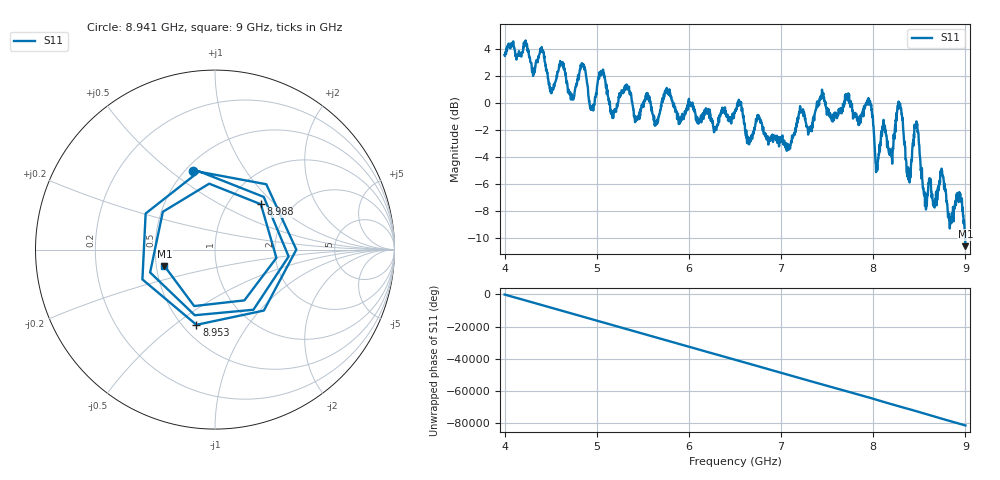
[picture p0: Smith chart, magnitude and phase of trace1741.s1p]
! Created with skrf 1.8.0 (http://scikit-rf.org).
# Hz S RI R 50.0
!freq ReS11 ImS11
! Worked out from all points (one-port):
!   1601 points, 4 GHz to 9 GHz, reference 50 ohm
!   lowest |S11| = -10.6 dB at 9 GHz (marker M1), VSWR 1.84, Z = 27.6 - j5.55 ohm
!   |S11| at or under -10 dB: 8.99841 GHz to end of sweep
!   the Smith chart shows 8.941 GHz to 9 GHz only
!   S11 on the Smith chart (normalised r, x): 8.941 GHz: 0.54, +0.61; 8.953 GHz: 0.58, -0.60; 8.988 GHz: 1.41, +0.82; 9 GHz: 0.55, -0.11
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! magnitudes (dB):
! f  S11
! 4 GHz  3.6
! 4.406 GHz  3.9
! 4.512 GHz  0.8
! 4.625 GHz  2.8
! 4.731 GHz  0.3
! 4.85 GHz  2.9
! 4.947 GHz  -0.5
! 5.053 GHz  2.1
! 5.172 GHz  -0.9
! 5.25 GHz  0.4
! 5.875 GHz  -0.9
! 6.5 GHz  -0.6
! 6.65 GHz  -2.7
! 7.125 GHz  -2.5
! 7.441 GHz  0.5
! 7.75 GHz  -0.3
! 7.959 GHz  0.0
! 8.041 GHz  -4.5
! 8.109 GHz  -1.5
! 8.194 GHz  -3.9
! 8.288 GHz  -0.1
! 8.375 GHz  -5.2
! 8.466 GHz  -1.5
! 8.562 GHz  -7.6
! 8.941 GHz  -6.8
! 8.953 GHz  -7.3
! 8.988 GHz  -8.9
! 9 GHz  -10.6
